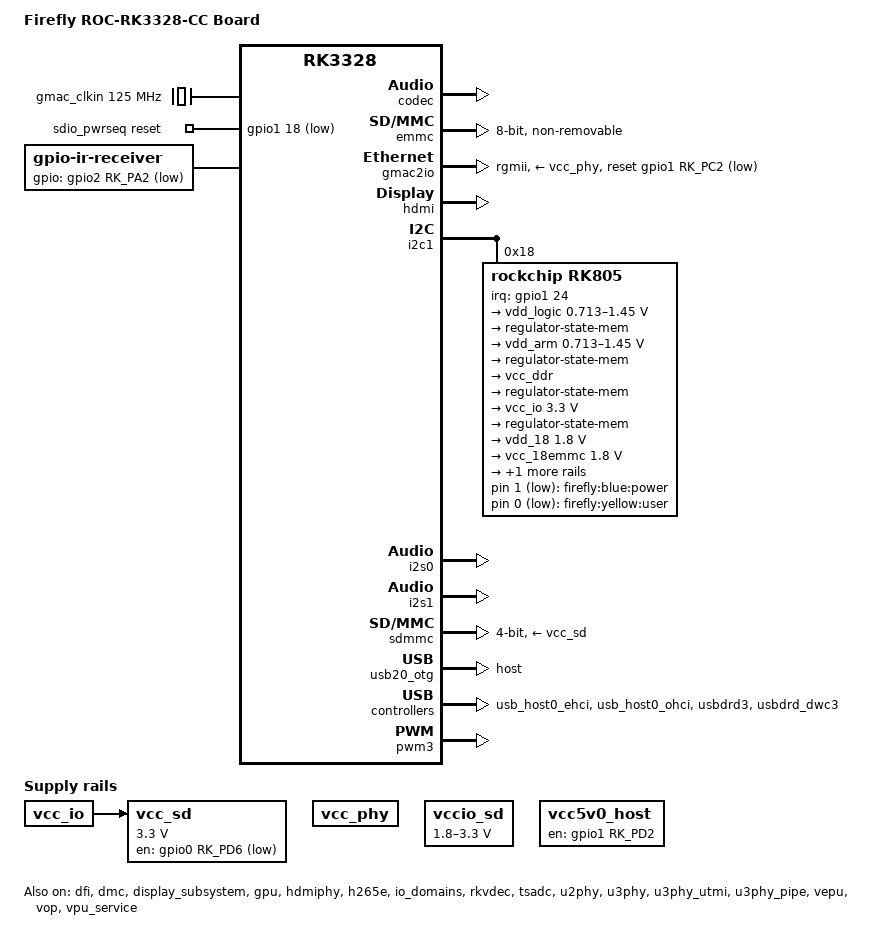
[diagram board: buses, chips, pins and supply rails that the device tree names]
/*
 * Copyright (c) 2017 Fuzhou Rockchip Electronics Co., Ltd
 *
 * This file is dual-licensed: you can use it either under the terms
 * of the GPL or the X11 license, at your option. Note that this dual
 * licensing only applies to this file, and not this project as a
 * whole.
 *
 *  a) This library is free software; you can redistribute it and/or
 *     modify it under the terms of the GNU General Public License as
 *     published by the Free Software Foundation; either version 2 of the
 *     License, or (at your option) any later version.
 *
 *     This library is distributed in the hope that it will be useful,
 *     but WITHOUT ANY WARRANTY; without even the implied warranty of
 *     MERCHANTABILITY or FITNESS FOR A PARTICULAR PURPOSE.  See the
 *     GNU General Public License for more details.
 *
 * Or, alternatively,
 *
 *  b) Permission is hereby granted, free of charge, to any person
 *     obtaining a copy of this software and associated documentation
 *     files (the "Software"), to deal in the Software without
 *     restriction, including without limitation the rights to use,
 *     copy, modify, merge, publish, distribute, sublicense, and/or
 *     sell copies of the Software, and to permit persons to whom the
 *     Software is furnished to do so, subject to the following
 *     conditions:
 *
 *     The above copyright notice and this permission notice shall be
 *     included in all copies or substantial portions of the Software.
 *
 *     THE SOFTWARE IS PROVIDED "AS IS", WITHOUT WARRANTY OF ANY KIND,
 *     EXPRESS OR IMPLIED, INCLUDING BUT NOT LIMITED TO THE WARRANTIES
 *     OF MERCHANTABILITY, FITNESS FOR A PARTICULAR PURPOSE AND
 *     NONINFRINGEMENT. IN NO EVENT SHALL THE AUTHORS OR COPYRIGHT
 *     HOLDERS BE LIABLE FOR ANY CLAIM, DAMAGES OR OTHER LIABILITY,
 *     WHETHER IN AN ACTION OF CONTRACT, TORT OR OTHERWISE, ARISING
 *     FROM, OUT OF OR IN CONNECTION WITH THE SOFTWARE OR THE USE OR
 *     OTHER DEALINGS IN THE SOFTWARE.
 */

/dts-v1/;
#include "rk3328.dtsi"
#include <dt-bindings/input/input.h>
#include "rk3328-box-plus-dram-timing.dtsi"

/ {
	model = "Firefly ROC-RK3328-CC Board";
	compatible = "firefly,roc-rk3328-cc", "rockchip,rk3328";

	chosen {
		bootargs = "rockchip_jtag earlyprintk=uart8250-32bit,0xff130000";
		stdout-path = "serial2:1500000n8";
	};

	fiq-debugger {
		compatible = "rockchip,fiq-debugger";
		rockchip,serial-id = <2>;
		rockchip,signal-irq = <159>;
		rockchip,wake-irq = <0>;
		/* If enable uart uses irq instead of fiq */
		rockchip,irq-mode-enable = <0>;
		rockchip,baudrate = <1500000>;  /* Only 115200 and 1500000 */
		interrupts = <GIC_SPI 127 IRQ_TYPE_LEVEL_LOW>;
		status = "okay";
	};

	gmac_clkin: external-gmac-clock {
		compatible = "fixed-clock";
		clock-frequency = <125000000>;
		clock-output-names = "gmac_clkin";
		#clock-cells = <0>;
	};

	sdio_pwrseq: sdio-pwrseq {
		compatible = "mmc-pwrseq-simple";
		pinctrl-names = "default";
		pinctrl-0 = <&wifi_enable_h>;

		/*
		 * On the module itself this is one of these (depending
		 * on the actual card populated):
		 * - SDIO_RESET_L_WL_REG_ON
		 * - PDN (power down when low)
		 */
		reset-gpios = <&gpio1 18 GPIO_ACTIVE_LOW>;
	};

	sound {
		compatible = "simple-audio-card";
		simple-audio-card,format = "i2s";
		simple-audio-card,mclk-fs = <256>;
		simple-audio-card,name = "rockchip,rk3328";
		simple-audio-card,cpu {
			sound-dai = <&i2s1>;
		};
		simple-audio-card,codec {
			sound-dai = <&codec>;
		};
	};

	hdmi-sound {
		compatible = "simple-audio-card";
		simple-audio-card,format = "i2s";
		simple-audio-card,mclk-fs = <128>;
		simple-audio-card,name = "rockchip,hdmi";
		simple-audio-card,cpu {
			sound-dai = <&i2s0>;
		};
		simple-audio-card,codec {
			sound-dai = <&hdmi>;
		};
	};

	spdif-sound {
	  status = "disabled";
		compatible = "simple-audio-card";
		simple-audio-card,name = "rockchip,spdif";
		simple-audio-card,cpu {
			sound-dai = <&spdif>;
		};
		simple-audio-card,codec {
			sound-dai = <&spdif_out>;
		};
	};

	spdif_out: spdif-out {
	  status = "disabled";
		compatible = "linux,spdif-dit";
		#sound-dai-cells = <0>;
	};

	vcc_phy: vcc-phy-regulator {
		compatible = "regulator-fixed";
		regulator-name = "vcc_phy";
		regulator-always-on;
		regulator-boot-on;
	};

	vcc_sd: sdmmc-regulator {
		compatible = "regulator-fixed";
		gpio = <&gpio0 RK_PD6 GPIO_ACTIVE_LOW>;
		pinctrl-names = "default";
		pinctrl-0 = <&sdmmc0m1_gpio>;
		regulator-name = "vcc_sd";
		regulator-min-microvolt = <3300000>;
		regulator-max-microvolt = <3300000>;
		vin-supply = <&vcc_io>;
	};

	vccio_sd: sdmmcio-regulator {
		compatible = "regulator-gpio";
		gpios = <&gpio0 RK_PD1 GPIO_ACTIVE_HIGH>;
		states = <1800000 0x1
				  3300000 0x0>;
		regulator-name = "vccio_sd";
		regulator-type = "voltage";
		regulator-min-microvolt = <1800000>;
		regulator-max-microvolt = <3300000>;
	};

	vcc5v0_host: vcc5v0-host-regulator {
		compatible = "regulator-fixed";
		enable-active-high;
		gpio = <&gpio1 RK_PD2 GPIO_ACTIVE_HIGH>;
		pinctrl-names = "default";
		pinctrl-0 = <&host_vbus_drv>;
		regulator-name = "vcc5v0_host";
		regulator-always-on;
	};

	wireless-wlan {
		compatible = "wlan-platdata";
		rockchip,grf = <&grf>;
		wifi_chip_type = "ap6354";
		sdio_vref = <1800>;
		WIFI,host_wake_irq = <&gpio1 19 GPIO_ACTIVE_HIGH>;
		status = "disabled";
	};

	leds {
		compatible = "gpio-leds";

		power {
			label = "firefly:blue:power";
			linux,default-trigger = "ir-power-click";
			gpios = <&rk805 1 GPIO_ACTIVE_LOW>;
			default-state = "on";
			mode = <0x23>;
		};

		user {
			label = "firefly:yellow:user";
            linux,default-trigger = "ir-user-click";
			gpios = <&rk805 0 GPIO_ACTIVE_LOW>;
			default-state = "off";
			mode = <0x05>;
		};
	};

	ir-receiver {
		compatible = "gpio-ir-receiver";
		gpios = <&gpio2 RK_PA2 GPIO_ACTIVE_LOW>;
		pinctrl-0 = <&ir_int>;
		pinctrl-names = "default";
		status = "okay";
	};
};

&codec {
	#sound-dai-cells = <0>;
	status = "okay";
};

&cpu0 {
	cpu-supply = <&vdd_arm>;
};

&cpu1 {
	cpu-supply = <&vdd_arm>;
};

&cpu2 {
	cpu-supply = <&vdd_arm>;
};

&cpu3 {
	cpu-supply = <&vdd_arm>;
};

&dfi {
	status = "okay";
};

&dmc {
	status = "okay";
	center-supply = <&vdd_logic>;

	system-status-freq = <
		/*system status         freq(KHz)*/
		SYS_STATUS_NORMAL       1066000
		SYS_STATUS_REBOOT       1066000
		SYS_STATUS_SUSPEND      1066000
		SYS_STATUS_VIDEO_1080P  1066000
		SYS_STATUS_VIDEO_4K     1066000
		SYS_STATUS_VIDEO_4K_10B 1066000
		SYS_STATUS_PERFORMANCE  1066000
		SYS_STATUS_BOOST        1066000
	>;
};

&dmc_opp_table {
	status = "okay";

	rockchip,leakage-voltage-sel = <
		1   8     0
		9   254   0
	>;

	opp-400000000 {
		status = "disabled";
	};
	opp-600000000 {
		status = "disabled";
	};

	opp-933000000 {
		opp-hz = /bits/ 64 <933000000>;
		opp-microvolt = <1150000>;
		opp-microvolt-L0 = <1150000>;
		opp-microvolt-L1 = <1100000>;
	};
	opp-1066000000 {
		opp-hz = /bits/ 64 <1066000000>;
		opp-microvolt = <1200000>;
		opp-microvolt-L0 = <1200000>;
		opp-microvolt-L1 = <1175000>;
	};
};


&cpu0_opp_table {

	rockchip,leakage-voltage-sel = <
		1   8     0
		9   254   1
	>;
	nvmem-cells = <&cpu_leakage>;
	nvmem-cell-names = "cpu_leakage";

	opp-408000000 {
		opp-hz = /bits/ 64 <408000000>;
		opp-microvolt = <975000>;
		opp-microvolt-L0 = <975000>;
		opp-microvolt-L1 = <950000>;
		clock-latency-ns = <40000>;
		opp-suspend;
	};
	opp-600000000 {
		opp-hz = /bits/ 64 <600000000>;
		opp-microvolt = <975000>;
		opp-microvolt-L0 = <975000>;
		opp-microvolt-L1 = <950000>;
		clock-latency-ns = <40000>;
	};
	opp-816000000 {
		opp-hz = /bits/ 64 <816000000>;
		opp-microvolt = <1025000>;
		opp-microvolt-L0 = <1025000>;
		opp-microvolt-L1 = <1000000>;
		clock-latency-ns = <40000>;
	};
	opp-1008000000 {
		opp-hz = /bits/ 64 <1008000000>;
		opp-microvolt = <1125000>;
		opp-microvolt-L0 = <1125000>;
		opp-microvolt-L1 = <1100000>;
		clock-latency-ns = <40000>;
	};
	opp-1200000000 {
		opp-hz = /bits/ 64 <1200000000>;
		opp-microvolt = <1250000>;
		opp-microvolt-L0 = <1250000>;
		opp-microvolt-L1 = <1225000>;
		clock-latency-ns = <40000>;
	};
	opp-1296000000 {
		opp-hz = /bits/ 64 <1296000000>;
		opp-microvolt = <1325000>;
		opp-microvolt-L0 = <1325000>;
		opp-microvolt-L1 = <1300000>;
		clock-latency-ns = <40000>;
	};
	opp-1392000000 {
		opp-hz = /bits/ 64 <1392000000>;
		opp-microvolt = <1350000>;
		opp-microvolt-L0 = <1350000>;
		opp-microvolt-L1 = <1325000>;
		clock-latency-ns = <40000>;
	};
	opp-1512000000 {
		status = "disabled";
		opp-hz = /bits/ 64 <1512000000>;
		opp-microvolt = <1350000>;
		opp-microvolt-L0 = <1350000>;
		opp-microvolt-L1 = <1325000>;
		clock-latency-ns = <40000>;
	};
};

&display_subsystem {
	status = "okay";
};

&emmc {
	bus-width = <8>;
	cap-mmc-highspeed;
	supports-emmc;
	disable-wp;
	non-removable;
	num-slots = <1>;
	pinctrl-names = "default";
	pinctrl-0 = <&emmc_clk &emmc_cmd &emmc_bus8>;
	status = "okay";
};

&gmac2io {
	phy-supply = <&vcc_phy>;
	phy-mode = "rgmii";
	clock_in_out = "input";
	snps,reset-gpio = <&gpio1 RK_PC2 GPIO_ACTIVE_LOW>;
	snps,reset-active-low;
	snps,reset-delays-us = <0 10000 50000>;
	assigned-clocks = <&cru SCLK_MAC2IO>, <&cru SCLK_MAC2IO_EXT>;
	assigned-clock-parents = <&gmac_clkin>, <&gmac_clkin>;
	pinctrl-names = "default";
	pinctrl-0 = <&rgmiim1_pins>;
	tx_delay = <0x25>;
	rx_delay = <0x11>;
	status = "okay";
};

&gmac2phy {
	phy-supply = <&vcc_phy>;
	clock_in_out = "output";
	assigned-clocks = <&cru SCLK_MAC2PHY_SRC>;
	assigned-clock-rate = <50000000>;
	assigned-clocks = <&cru SCLK_MAC2PHY>;
	assigned-clock-parents = <&cru SCLK_MAC2PHY_SRC>;
	status = "disabled";
};

&gpu {
	status = "okay";
	mali-supply = <&vdd_logic>;
};

&gpu_opp_table {

	rockchip,leakage-voltage-sel = <
		1   8     0                 
		9   254   1
	>;
	nvmem-cells = <&logic_leakage>;
	nvmem-cell-names = "gpu_leakage";

	opp-200000000 {
			opp-hz = /bits/ 64 <200000000>;
			opp-microvolt = <1050000>;
			opp-microvolt-L0 = <1050000>;
			opp-microvolt-L1 = <1025000>;
	};
	opp-300000000 {
			opp-hz = /bits/ 64 <300000000>;
			opp-microvolt = <1050000>;
			opp-microvolt-L0 = <1050000>;
			opp-microvolt-L1 = <1025000>;
	};
	opp-400000000 {
			opp-hz = /bits/ 64 <400000000>;
			opp-microvolt = <1050000>;
			opp-microvolt-L0 = <1050000>;
			opp-microvolt-L1 = <1025000>;
	};
	opp-500000000 {
			opp-hz = /bits/ 64 <500000000>;
			opp-microvolt = <1125000>;
			opp-microvolt-L0 = <1125000>;
			opp-microvolt-L1 = <1100000>;
	};
};

&hdmi {
	#sound-dai-cells = <0>;
	ddc-i2c-scl-high-time-ns = <9625>;
	ddc-i2c-scl-low-time-ns = <10000>;
	status = "okay";
};

&hdmiphy {
	status = "okay";
};

&i2c1 {
	status = "okay";

	rk805: rk805@18 {
		compatible = "rockchip,rk805";
		status = "okay";
		reg = <0x18>;
		interrupt-parent = <&gpio1>;
		interrupts = <24 IRQ_TYPE_LEVEL_LOW>;
		pinctrl-names = "default";
		pinctrl-0 = <&pmic_int_l>;
		rockchip,system-power-controller;
		wakeup-source;
		gpio-controller;
		#gpio-cells = <2>;
		#clock-cells = <1>;
		clock-output-names = "xin32k", "rk805-clkout2";

		rtc {
			status = "okay";
		};

		pwrkey {
			status = "disabled";
		};

		gpio {
			status = "okay";
		};

		regulators {
			compatible = "rk805-regulator";
			status = "okay";
			#address-cells = <1>;
			#size-cells = <0>;

			vdd_logic: RK805_DCDC1@0 {
				regulator-compatible = "RK805_DCDC1";
				regulator-name = "vdd_logic";
				regulator-min-microvolt = <712500>;
				regulator-max-microvolt = <1450000>;
				regulator-initial-mode = <0x1>;
				regulator-ramp-delay = <12500>;
				regulator-boot-on;
				regulator-always-on;
				regulator-state-mem {
					regulator-mode = <0x2>;
					regulator-on-in-suspend;
					regulator-suspend-microvolt = <1000000>;
				};
			};

			vdd_arm: RK805_DCDC2@1 {
				regulator-compatible = "RK805_DCDC2";
				regulator-name = "vdd_arm";
				regulator-min-microvolt = <712500>;
				regulator-max-microvolt = <1450000>;
				regulator-initial-mode = <0x1>;
				regulator-ramp-delay = <12500>;
				regulator-boot-on;
				regulator-always-on;
				regulator-state-mem {
					regulator-mode = <0x2>;
					regulator-on-in-suspend;
					regulator-suspend-microvolt = <950000>;
				};
			};

			vcc_ddr: RK805_DCDC3@2 {
				regulator-compatible = "RK805_DCDC3";
				regulator-name = "vcc_ddr";
				regulator-initial-mode = <0x1>;
				regulator-boot-on;
				regulator-always-on;
				regulator-state-mem {
					regulator-mode = <0x2>;
					regulator-on-in-suspend;
				};
			};

			vcc_io: RK805_DCDC4@3 {
				regulator-compatible = "RK805_DCDC4";
				regulator-name = "vcc_io";
				regulator-min-microvolt = <3300000>;
				regulator-max-microvolt = <3300000>;
				regulator-initial-mode = <0x1>;
				regulator-boot-on;
				regulator-always-on;
				regulator-state-mem {
					regulator-mode = <0x2>;
					regulator-on-in-suspend;
					regulator-suspend-microvolt = <3300000>;
				};
			};

			vdd_18: RK805_LDO1@4 {
				regulator-compatible = "RK805_LDO1";
				regulator-name = "vdd_18";
				regulator-min-microvolt = <1800000>;
				regulator-max-microvolt = <1800000>;
				regulator-boot-on;
				regulator-always-on;
				regulator-state-mem {
					regulator-on-in-suspend;
					regulator-suspend-microvolt = <1800000>;
				};
			};

			vcc_18emmc: RK805_LDO2@5 {
				regulator-compatible = "RK805_LDO2";
				regulator-name = "vcc_18emmc";
				regulator-min-microvolt = <1800000>;
				regulator-max-microvolt = <1800000>;
				regulator-boot-on;
				regulator-always-on;
				regulator-state-mem {
					regulator-on-in-suspend;
					regulator-suspend-microvolt = <1800000>;
				};
			};

			vdd_10: RK805_LDO3@6 {
				regulator-compatible = "RK805_LDO3";
				regulator-name = "vdd_10";
				regulator-min-microvolt = <1000000>;
				regulator-max-microvolt = <1000000>;
				regulator-boot-on;
				regulator-always-on;
				regulator-state-mem {
					regulator-on-in-suspend;
					regulator-suspend-microvolt = <1000000>;
				};
			};
		};
	};
};

&h265e {
	status = "okay";
};

&i2s0 {
	#sound-dai-cells = <0>;
	rockchip,bclk-fs = <128>;
	status = "okay";
};

&i2s1 {
	#sound-dai-cells = <0>;
	status = "okay";
};

&io_domains {
	status = "okay";

	vccio1-supply = <&vcc_io>;
	vccio2-supply = <&vcc_18emmc>;
	vccio3-supply = <&vccio_sd>;
	vccio4-supply = <&vdd_18>;
	vccio5-supply = <&vcc_io>;
	vccio6-supply = <&vcc_io>;
	pmuio-supply = <&vcc_io>;
};

&pinctrl {
	pmic {
		pmic_int_l: pmic-int-l {
			rockchip,pins =
				<1 RK_PD0 RK_FUNC_GPIO &pcfg_pull_up>;	/* gpio1_d0 */
		};
	};

	sdio-pwrseq {
		wifi_enable_h: wifi-enable-h {
			rockchip,pins =
				<1 18 RK_FUNC_GPIO &pcfg_pull_none>;
		};
	};

	usb_host {
		host_vbus_drv: host-vbus-drv {
			rockchip,pins =
				<1 26 RK_FUNC_GPIO &pcfg_pull_none>;
		};
	};

	ir {
		ir_int: ir-int {
			rockchip,pins = <2 RK_PA2 RK_FUNC_GPIO &pcfg_pull_none>;
		};
	};
};

&rkvdec {
	status = "okay";
};

&sdio {
	bus-width = <4>;
	cap-sd-highspeed;
	cap-sdio-irq;
	disable-wp;
	keep-power-in-suspend;
	max-frequency = <150000000>;
	mmc-pwrseq = <&sdio_pwrseq>;
	non-removable;
	num-slots = <1>;
	pinctrl-names = "default";
	pinctrl-0 = <&sdmmc1_bus4 &sdmmc1_cmd &sdmmc1_clk>;
	supports-sdio;
	status = "disabled";
};

&sdmmc {
	bus-width = <4>;
	cap-mmc-highspeed;
	cap-sd-highspeed;
	sd-uhs-sdr104;
	disable-wp;
	clock-freq-min-max = <400000 150000000>;
	clocks = <&cru HCLK_SDMMC>, <&cru SCLK_SDMMC>,
			 <&cru SCLK_SDMMC_DRV>, <&cru SCLK_SDMMC_SAMPLE>;
	clock-names = "biu", "ciu", "ciu-drive", "ciu-sample";
	num-slots = <1>;
	pinctrl-names = "default";
	pinctrl-0 = <&sdmmc0_clk &sdmmc0_cmd &sdmmc0_dectn &sdmmc0_bus4>;
	supports-sd;
	status = "okay";
	vmmc-supply = <&vcc_sd>;
	vqmmc-supply = <&vccio_sd>;
};

&spdif {
	#sound-dai-cells = <0>;
	status = "disabled";
};

&tsadc {
	status = "okay";
};

&u2phy {
	otg-vbus-gpios = <&gpio0 RK_PD3 GPIO_ACTIVE_HIGH>;
	status = "okay";

	u2phy_host: host-port {
		status = "okay";
	};

	u2phy_otg: otg-port {
		status = "okay";
	};
};

&u3phy {
	vbus-drv-gpios = <&gpio0 RK_PA0 GPIO_ACTIVE_HIGH>;
	status = "okay";
};

&u3phy_utmi {
	status = "okay";
};

&u3phy_pipe {
	status = "okay";
};

&usb20_otg {
	dr_mode = "host";
	status = "okay";
};

&usb_host0_ehci {
	status = "okay";
};

&usb_host0_ohci {
	status = "okay";
};

&usbdrd3 {
	status = "okay";
};

&usbdrd_dwc3 {
	status = "okay";
};

&vepu {
	status = "okay";
};

&vop {
	status = "okay";
};

&vop_mmu {
	status = "okay";
};

&vpu_service {
	status = "okay";
};

&pwm3 {
	status = "okay";
	compatible = "rockchip,remotectl-pwm";
	remote_pwm_id = <3>;
	handle_cpu_id = <1>;
	remote_support_psci = <1>;

	ir_key2 {
        rockchip,usercode = <0xff00>;
        rockchip,key_table =
            <0xeb   KEY_POWER>,
            <0xec   KEY_COMPOSE>,
            <0xfe   KEY_BACK>,
            <0xb7   KEY_HOME>,
            <0xa3   KEY_WWW>,
            <0xf4   KEY_VOLUMEUP>,
            <0xa7   KEY_VOLUMEDOWN>,
            <0xf8   KEY_ENTER>,
            <0xfc   KEY_UP>,
            <0xfd   KEY_DOWN>,
            <0xf1   KEY_LEFT>,
            <0xe5   KEY_RIGHT>;
    };
};
